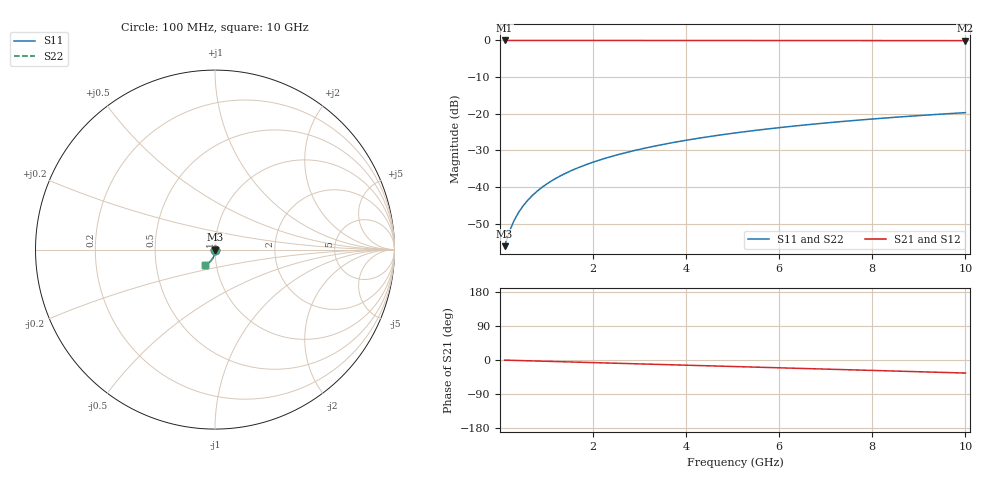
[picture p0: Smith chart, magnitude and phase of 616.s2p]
# Hz S RI R 50.00
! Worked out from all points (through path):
!   100 points, 100 MHz to 10 GHz, reference 50 ohm
!   highest |S21| = -0.01 dB at 100 MHz (marker M1); lowest = -0.1 dB at 10 GHz (marker M2)
!   group delay of S21, straight-line fit = 9.57 ps
!   lowest |S11| = -56.1 dB at 100 MHz (marker M3), VSWR 1.00, Z = 50.1 - j0.11 ohm
!   |S11| at or under -10 dB: start of sweep to end of sweep
!   |S22| runs from -56.1 to -19.7 dB; largest |S21 - S12| = 0
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1e8  0.00111 -0.00109  0.9989 -0.00595  0.9989 -0.00595  0.00111 -0.00109
2e8  0.00109 -0.00219  0.9988 -0.0119  0.9988 -0.0119  0.00109 -0.00219
3e8  0.00106 -0.00328  0.9987 -0.0179  0.9987 -0.0179  0.00106 -0.00328
4e8  0.00102 -0.00438  0.9986 -0.0238  0.9986 -0.0238  0.00102 -0.00438
5e8  0.00096 -0.00547  0.9984 -0.0298  0.9984 -0.0298  0.00096 -0.00547
6e8  0.000889 -0.00657  0.9982 -0.0357  0.9982 -0.0357  0.000889 -0.00657
7e8  0.000804 -0.00766  0.9979 -0.0417  0.9979 -0.0417  0.000804 -0.00766
9e8  0.000595 -0.00984  0.9973 -0.0536  0.9973 -0.0536  0.000595 -0.00984
1e9  0.00047 -0.0109  0.997 -0.0595  0.997 -0.0595  0.00047 -0.0109
1.2e9  0.000182 -0.0131  0.9962 -0.0714  0.9962 -0.0714  0.000182 -0.0131
1.5e9  -0.000349 -0.0164  0.9947 -0.0892  0.9947 -0.0892  -0.000349 -0.0164
1.8e9  -0.000997 -0.0196  0.9928 -0.107  0.9928 -0.107  -0.000997 -0.0196
2.1e9  -0.00176 -0.0228  0.9907 -0.1248  0.9907 -0.1248  -0.00176 -0.0228
2.5e9  -0.00296 -0.0271  0.9873 -0.1484  0.9873 -0.1484  -0.00296 -0.0271
2.9e9  -0.00436 -0.0313  0.9833 -0.172  0.9833 -0.172  -0.00436 -0.0313
3.4e9  -0.0064 -0.0364  0.9775 -0.2013  0.9775 -0.2013  -0.0064 -0.0364
4.2e9  -0.0103 -0.0444  0.9663 -0.2479  0.9663 -0.2479  -0.0103 -0.0444
5.1e9  -0.0156 -0.0529  0.951 -0.2996  0.951 -0.2996  -0.0156 -0.0529
5.9e9  -0.021 -0.0599  0.935 -0.3448  0.935 -0.3448  -0.021 -0.0599
6.7e9  -0.0271 -0.0664  0.9167 -0.3893  0.9167 -0.3893  -0.0271 -0.0664
8.4e9  -0.0419 -0.078  0.8707 -0.4805  0.8707 -0.4805  -0.0419 -0.078
1e10  -0.0577 -0.0858  0.8188 -0.5617  0.8188 -0.5617  -0.0577 -0.0858
